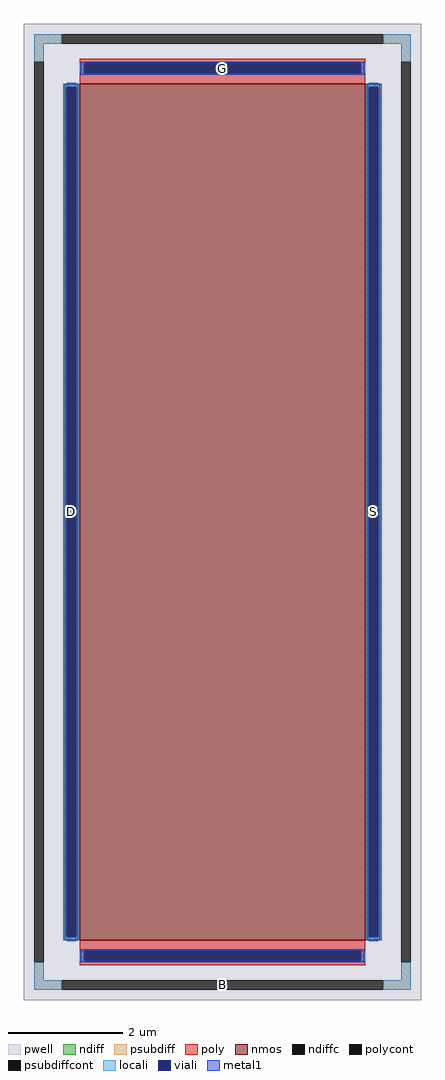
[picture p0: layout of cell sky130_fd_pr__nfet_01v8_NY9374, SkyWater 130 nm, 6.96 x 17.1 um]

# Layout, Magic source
magic
tech sky130A
magscale 1 2
<< pwell >>
rect -696 -1710 696 1710
<< nmos >>
rect -500 -1500 500 1500
<< ndiff >>
rect -558 1488 -500 1500
rect -558 -1488 -546 1488
rect -512 -1488 -500 1488
rect -558 -1500 -500 -1488
rect 500 1488 558 1500
rect 500 -1488 512 1488
rect 546 -1488 558 1488
rect 500 -1500 558 -1488
<< ndiffc >>
rect -546 -1488 -512 1488
rect 512 -1488 546 1488
<< psubdiff >>
rect -660 1640 -564 1674
rect 564 1640 660 1674
rect -660 1578 -626 1640
rect 626 1578 660 1640
rect -660 -1640 -626 -1578
rect 626 -1640 660 -1578
rect -660 -1674 -564 -1640
rect 564 -1674 660 -1640
<< psubdiffcont >>
rect -564 1640 564 1674
rect -660 -1578 -626 1578
rect 626 -1578 660 1578
rect -564 -1674 564 -1640
<< poly >>
rect -500 1572 500 1588
rect -500 1538 -484 1572
rect 484 1538 500 1572
rect -500 1500 500 1538
rect -500 -1538 500 -1500
rect -500 -1572 -484 -1538
rect 484 -1572 500 -1538
rect -500 -1588 500 -1572
<< polycont >>
rect -484 1538 484 1572
rect -484 -1572 484 -1538
<< locali >>
rect -660 1640 -564 1674
rect 564 1640 660 1674
rect -660 1578 -626 1640
rect 626 1578 660 1640
rect -500 1538 -484 1572
rect 484 1538 500 1572
rect -546 1488 -512 1504
rect -546 -1504 -512 -1488
rect 512 1488 546 1504
rect 512 -1504 546 -1488
rect -500 -1572 -484 -1538
rect 484 -1572 500 -1538
rect -660 -1640 -626 -1578
rect 626 -1640 660 -1578
rect -660 -1674 -564 -1640
rect 564 -1674 660 -1640
<< viali >>
rect -484 1538 484 1572
rect -546 -1488 -512 1488
rect 512 -1488 546 1488
rect -484 -1572 484 -1538
<< metal1 >>
rect -496 1572 496 1578
rect -496 1538 -484 1572
rect 484 1538 496 1572
rect -496 1532 496 1538
rect -552 1488 -506 1500
rect -552 -1488 -546 1488
rect -512 -1488 -506 1488
rect -552 -1500 -506 -1488
rect 506 1488 552 1500
rect 506 -1488 512 1488
rect 546 -1488 552 1488
rect 506 -1500 552 -1488
rect -496 -1538 496 -1532
rect -496 -1572 -484 -1538
rect 484 -1572 496 -1538
rect -496 -1578 496 -1572
<< labels >>
rlabel psubdiffcont 0 -1657 0 -1657 0 B
port 1 nsew
rlabel ndiffc -529 0 -529 0 0 D
port 2 nsew
rlabel ndiffc 529 0 529 0 0 S
port 3 nsew
rlabel polycont 0 1555 0 1555 0 G
port 4 nsew
<< properties >>
string FIXED_BBOX -643 -1657 643 1657
string gencell sky130_fd_pr__nfet_01v8
string library sky130
string parameters w 15 l 5 m 1 nf 1 diffcov 100 polycov 100 guard 1 glc 1 grc 1 gtc 1 gbc 1 tbcov 100 rlcov 100 topc 1 botc 1 poverlap 0 doverlap 1 lmin 0.15 wmin 0.42 class mosfet compatible {sky130_fd_pr__nfet_01v8 sky130_fd_pr__nfet_01v8_lvt  sky130_fd_bs_flash__special_sonosfet_star  sky130_fd_pr__nfet_g5v0d10v5 sky130_fd_pr__nfet_05v0_nvt  sky130_fd_pr__nfet_03v3_nvt} full_metal 1 conn_gates 0 viasrc 100 viadrn 100 viagate 100 viagb 0 viagr 0 viagl 0 viagt 0 doports 1
<< end >>
